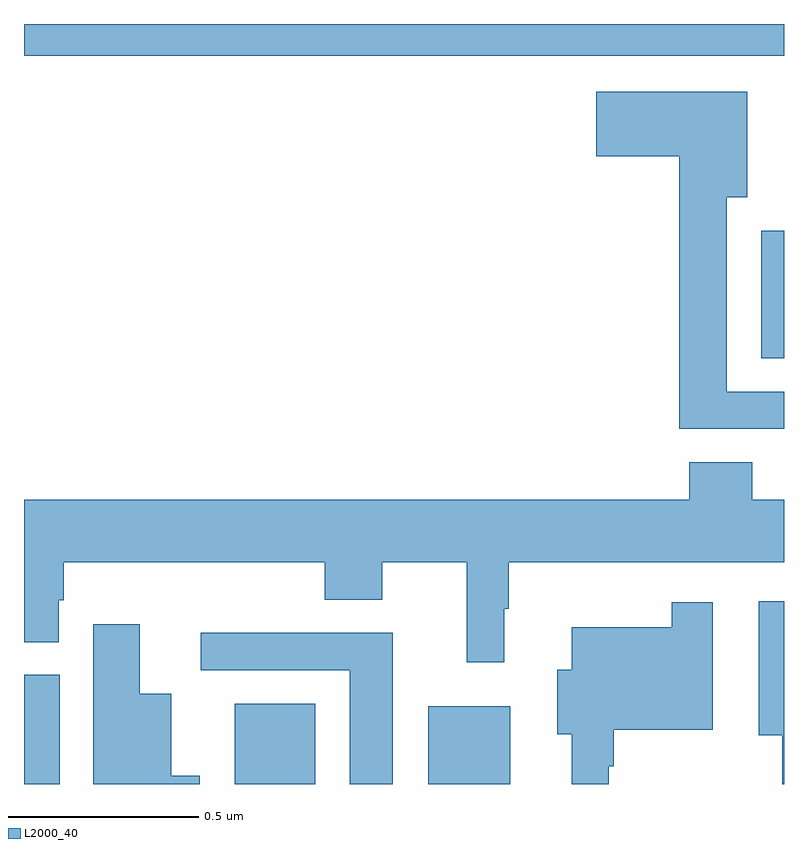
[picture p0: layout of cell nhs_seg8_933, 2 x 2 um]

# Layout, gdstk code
import gdstk
lib = gdstk.Library(unit=1e-6, precision=1e-09)
def R(c, l, rs):  # rectangles x0, y0, x1, y1
    for r in rs: c.add(gdstk.rectangle(r[:2], r[2:], *l))
def P(c, l, *ps):  # polygons
    for p in ps: c.add(gdstk.Polygon(p, *l))
L2000_40 = (2000, 40)

nhs_seg8_933 = lib.new_cell('nhs_seg8_933')
R(nhs_seg8_933, L2000_40, [(123,1131.9,123.094,1132.188), (123.554,1131.9,123.766,1132.111), (124.064,1131.9,124.279,1132.105), (124.94,1133.021,125,1133.356), (123,1133.816,125,1133.9)])
P(nhs_seg8_933, L2000_40, [(125,1132.932),(124.849,1132.932),(124.849,1133.444),(124.903,1133.444),(124.903,1133.722),(124.506,1133.722),(124.506,1133.552),(124.724,1133.552),(124.724,1132.835),(125,1132.835)],
  [(124.264,1132.361),(124.276,1132.361),(124.276,1132.484),(125,1132.484),(125,1132.648),(124.916,1132.648),(124.916,1132.747),(124.751,1132.747),(124.751,1132.648),(123,1132.648),(123,1132.273),(123.091,1132.273),(123.091,1132.383),(123.104,1132.383),(123.104,1132.484),(123.791,1132.484),(123.791,1132.385),(123.943,1132.385),(123.943,1132.484),(124.165,1132.484),(124.165,1132.221),(124.264,1132.221)],
  [(125,1132.381),(124.934,1132.381),(124.934,1132.028),(124.995,1132.028),(124.995,1131.9),(125,1131.9)],
  [(124.539,1131.947),(124.552,1131.947),(124.552,1132.043),(124.812,1132.043),(124.812,1132.378),(124.704,1132.378),(124.704,1132.312),(124.442,1132.312),(124.442,1132.201),(124.403,1132.201),(124.403,1132.031),(124.442,1132.031),(124.442,1131.9),(124.539,1131.9)],
  [(123.463,1131.922),(123.388,1131.922),(123.388,1132.138),(123.304,1132.138),(123.304,1132.321),(123.182,1132.321),(123.182,1131.9),(123.463,1131.9)],
  [(123.97,1132.298),(123.465,1132.298),(123.465,1132.2),(123.857,1132.2),(123.857,1131.9),(123.97,1131.9)])

lib.write_gds('nhs_seg8_933.gds')
